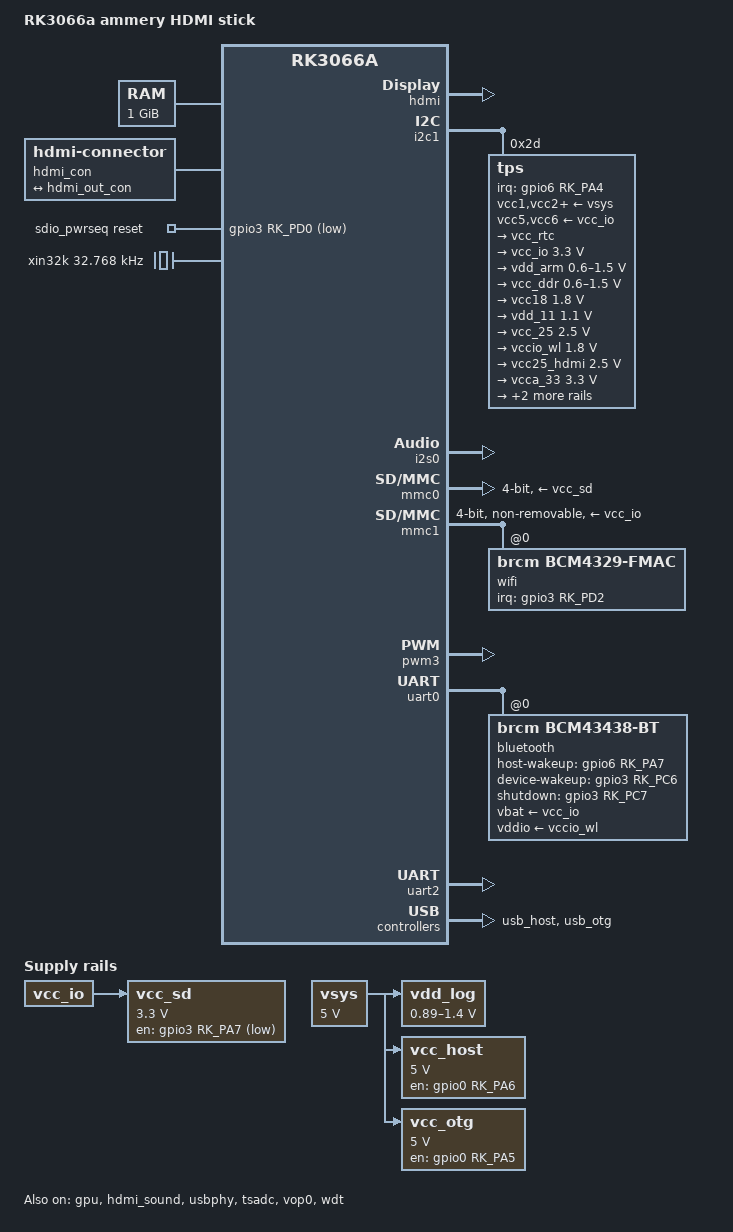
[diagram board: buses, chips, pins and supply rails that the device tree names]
// SPDX-License-Identifier: (GPL-2.0+ OR MIT)
/*
 * Copyright (c) 2020 Alex Bee <knaerzche@gmail.com>
 */

/dts-v1/;
#include "rk3066a.dtsi"

/ {
	model = "RK3066a ammery HDMI stick";
	compatible = "rockchip,rk3066a";

	memory@60000000 {
		device_type = "memory";
		reg = <0x60000000 0x40000000>;
	};

	/*
	 * We have to set this high voltage for all gpu-freqs
	 * in order to get 1,6 GHz CPU rate working at all times
	 */
	gpu_opp_table: opp-table2 {
		compatible = "operating-points-v2";

		opp-100000000 {
			opp-hz = /bits/ 64 <100000000>;
			opp-microvolt =  <1300000>;
		};

		opp-200000000 {
			opp-hz = /bits/ 64 <200000000>;
			opp-microvolt =  <1300000>;
		};
		opp-400000000 {
			opp-hz = /bits/ 64 <400000000>;
			opp-microvolt = <1300000>;
		};
	};

	hdmi_con {
		compatible = "hdmi-connector";
		type = "a";

		port {
			hdmi_con_in: endpoint {
				remote-endpoint = <&hdmi_out_con>;
			};
		};
	};

	sdio_pwrseq: sdio-pwrseq {
		compatible = "mmc-pwrseq-simple";
		clocks = <&xin32k>;
		clock-names = "ext_clock";
		pinctrl-names = "default";
		pinctrl-0 = <&wifi_reg_on>;
		reset-gpios = <&gpio3 RK_PD0 GPIO_ACTIVE_LOW>;
	};

	vdd_log: vdd-log {
		compatible = "pwm-regulator";
		pwms = <&pwm3 0 5000>;
		regulator-name = "vdd_log";
		regulator-min-microvolt = <890000>;
		regulator-max-microvolt = <1400000>;
		regulator-ramp-delay = <4000>;
		pwm-dutycycle-range = <100 0>;
		vin-supply = <&vsys>;
		regulator-always-on;
		regulator-boot-on;
	};

	vsys: vsys-regulator {
		compatible = "regulator-fixed";
		regulator-name = "vsys";
		regulator-min-microvolt = <5000000>;
		regulator-max-microvolt = <5000000>;
		regulator-always-on;
		regulator-boot-on;
	};

	vcc_sd: sdmmc-regulator {
		compatible = "regulator-fixed";
		gpio = <&gpio3 RK_PA7 GPIO_ACTIVE_LOW>;
		pinctrl-names = "default";
		pinctrl-0 = <&sdmmc_pwr>;
		regulator-name = "vcc_sd";
		regulator-min-microvolt = <3300000>;
		regulator-max-microvolt = <3300000>;
		startup-delay-us = <100000>;
		vin-supply = <&vcc_io>;
	};

	vcc_host: usb-host-regulator {
		compatible = "regulator-fixed";
		enable-active-high;
		gpio = <&gpio0 RK_PA6 GPIO_ACTIVE_HIGH>;
		pinctrl-names = "default";
		pinctrl-0 = <&host_drv>;
		regulator-name = "host-pwr";
		regulator-min-microvolt = <5000000>;
		regulator-max-microvolt = <5000000>;
		regulator-always-on;
		vin-supply = <&vsys>;
	};

	vcc_otg: usb-otg-regulator {
		compatible = "regulator-fixed";
		enable-active-high;
		gpio = <&gpio0 RK_PA5 GPIO_ACTIVE_HIGH>;
		pinctrl-names = "default";
		pinctrl-0 = <&otg_drv>;
		regulator-name = "vcc_otg";
		regulator-min-microvolt = <5000000>;
		regulator-max-microvolt = <5000000>;
		regulator-always-on;
		vin-supply = <&vsys>;
	};

	/* delivered from tps65910 pmic RTC,
	 * but there is no clock output in
	 * the driver
	 */
	xin32k: xin-32k {
		compatible = "fixed-clock";
		clock-frequency = <32768>;
		#clock-cells = <0>;
		clock-output-names = "xin32k";
	};
};

&cpu0_opp_table {
	opp-1608000000 {
		status = "okay";
	};
};

&cpu0 {
	cpu-supply = <&vdd_arm>;
};

&cpu1 {
	cpu-supply = <&vdd_arm>;
};

&cru {
	assigned-clocks = <&cru PLL_CPLL>, <&cru PLL_GPLL>,
			  <&cru ACLK_CPU>, <&cru HCLK_CPU>,
			  <&cru PCLK_CPU>, <&cru ACLK_PERI>,
			  <&cru HCLK_PERI>, <&cru PCLK_PERI>,
			  <&cru ACLK_LCDC0>, <&cru ACLK_LCDC1>;
	assigned-clock-rates = <594000000>, <1200000000>,
			       <300000000>, <150000000>,
			       <75000000>, <300000000>,
			       <150000000>, <75000000>,
			       <297000000>, <297000000>;
};

&gpu {
	operating-points-v2 = <&gpu_opp_table>;
	mali-supply = <&vdd_log>;
	status = "okay";
};

&hdmi {
	status = "okay";
};

&hdmi_in_vop1 {
	status = "disabled";
};

&hdmi_out {
	hdmi_out_con: endpoint {
		remote-endpoint = <&hdmi_con_in>;
	};
};

&hdmi_sound {
	status = "okay";
};

&i2c1 {
	status = "okay";

	tps: tps@2d {
		reg = <0x2d>;
		interrupt-parent = <&gpio6>;
		interrupts = <RK_PA4 IRQ_TYPE_EDGE_RISING>;
		pinctrl-names = "default";
		pinctrl-0 = <&pmic_int &pwr_hold>;

		vcc1-supply = <&vsys>;
		vcc2-supply = <&vsys>;
		vcc3-supply = <&vsys>;
		vcc4-supply = <&vsys>;
		vcc5-supply = <&vcc_io>;
		vcc6-supply = <&vcc_io>;
		vcc7-supply = <&vsys>;
		vccio-supply = <&vsys>;

		regulators {
			vcc_rtc: regulator@0 {
				regulator-name = "vcc_rtc";
				regulator-always-on;
			};

			vcc_io: regulator@1 {
				regulator-name = "vcc_io";
				regulator-min-microvolt = <3300000>;
				regulator-max-microvolt = <3300000>;
				regulator-always-on;
				regulator-boot-on;
			};

			vdd_arm: regulator@2 {
				regulator-name = "vdd_arm";
				regulator-min-microvolt = <600000>;
				regulator-max-microvolt = <1500000>;
				regulator-always-on;
				regulator-boot-on;
			};

			vcc_ddr: regulator@3 {
				regulator-name = "vcc_ddr";
				regulator-min-microvolt = <600000>;
				regulator-max-microvolt = <1500000>;
				regulator-always-on;
				regulator-boot-on;
			};

			vcc18: regulator@5 {
				regulator-name = "vcc18";
				regulator-min-microvolt = <1800000>;
				regulator-max-microvolt = <1800000>;
				regulator-always-on;
			};

			vdd_11: regulator@6 {
				regulator-name = "vdd_11";
				regulator-min-microvolt = <1100000>;
				regulator-max-microvolt = <1100000>;
				regulator-always-on;
			};

			vcc_25: regulator@7 {
				regulator-name = "vcc_25";
				regulator-min-microvolt = <2500000>;
				regulator-max-microvolt = <2500000>;
				regulator-always-on;
			};

			vccio_wl: regulator@8 {
				regulator-name = "vccio_wl";
				regulator-min-microvolt = <1800000>;
				regulator-max-microvolt = <1800000>;
				regulator-boot-on;
			};

			vcc25_hdmi: regulator@9 {
				regulator-name = "vcc25_hdmi";
				regulator-min-microvolt = <2500000>;
				regulator-max-microvolt = <2500000>;
				regulator-always-on;
			};

			vcca_33: regulator@10 {
				regulator-name = "vcca_33";
				regulator-min-microvolt = <3300000>;
				regulator-max-microvolt = <3300000>;
				regulator-boot-on;
				regulator-always-on;
			};

			vcc_rmii: regulator@11 {
				regulator-name = "vcc_rmii";
				regulator-min-microvolt = <3300000>;
				regulator-max-microvolt = <3300000>;
			};

			vcc28_cif: regulator@12 {
				regulator-name = "vcc28_cif";
				regulator-min-microvolt = <2800000>;
				regulator-max-microvolt = <2800000>;
			};
		};
	};
};

#include "tps65910.dtsi"

&i2s0 {
	status = "okay";
};

&mmc0 {
	bus-width = <4>;
	disable-wp;
	pinctrl-names = "default";
	pinctrl-0 = <&sd0_clk>, <&sd0_cmd>, <&sd0_cd>, <&sd0_bus4>;
	vmmc-supply = <&vcc_sd>;
	cap-mmc-highspeed;
	cap-sd-highspeed;
	status = "okay";
};

&mmc1 {
	bus-width = <4>;
	clock-frequency = <50000000>;
	mmc-pwrseq = <&sdio_pwrseq>;
	non-removable;
	pinctrl-names = "default";
	pinctrl-0 = <&sd1_clk>, <&sd1_cmd>, <&sd1_bus4>;
	vmmc-supply = <&vcc_io>;
	vqmmc-supply = <&vccio_wl>;
	cap-mmc-highspeed;
	cap-sd-highspeed;
	status = "okay";
	#address-cells = <1>;
	#size-cells = <0>;

	/*
	 * RK903 is compatible with Ampak AP6330
	 * except: 2.4 GHz channels only
	 */
	wifi@0 {
		reg = <0>;
		compatible = "brcm,bcm4329-fmac";
		interrupt-parent = <&gpio3>;
		interrupts = <RK_PD2 IRQ_TYPE_EDGE_RISING>;
		interrupt-names = "host-wake";
		pinctrl-names = "default";
		pinctrl-0 = <&wifi_host_wake>;
	};
};

&pinctrl {
	pcfg_output_high: pcfg-output-high {
		output-high;
	};

	usb {
		host_drv: host-drv {
			rockchip,pins = <0 RK_PA6 RK_FUNC_GPIO &pcfg_pull_default>;
		};

		otg_drv: otg-drv {
			rockchip,pins = <0 RK_PA5 RK_FUNC_GPIO &pcfg_pull_default>;
		};

	};

	rk903 {
		bt_host_wake: bt-host-wake {
			rockchip,pins = <6 RK_PA7 RK_FUNC_GPIO &pcfg_pull_default>;
		};

		bt_reg_on: bt-reg-on {
			rockchip,pins = <3 RK_PC7 RK_FUNC_GPIO &pcfg_pull_none>;
		};

		bt_rst: bt-rst {
			rockchip,pins = <3 RK_PD1 RK_FUNC_GPIO &pcfg_output_high>;
		};

		bt_wake: bt-wake {
			rockchip,pins = <3 RK_PC6 RK_FUNC_GPIO &pcfg_pull_none>;
		};

		wifi_host_wake: wifi-host-wake {
			rockchip,pins = <3 RK_PD2 RK_FUNC_GPIO &pcfg_pull_default>;
		};

		wifi_reg_on: wifi-reg-on {
			rockchip,pins = <3 RK_PD0 RK_FUNC_GPIO &pcfg_pull_none>;
		};
	};

	sdmmc {
		sdmmc_pwr: sdmmc-pwr {
			rockchip,pins = <3 RK_PA7 RK_FUNC_GPIO &pcfg_pull_default>;
		};
	};

	tps {
		pmic_int: pmic-int {
			rockchip,pins = <6 RK_PA4 RK_FUNC_GPIO &pcfg_pull_default>;
		};

		pwr_hold: pwr-hold {
			rockchip,pins = <6 RK_PB0 RK_FUNC_GPIO &pcfg_output_high>;
		};
	};
};

&pwm3 {
	status = "okay";
};

&uart0 {
	pinctrl-names = "default";
	pinctrl-0 = <&uart0_xfer>, <&uart0_cts>,
		    <&uart0_rts>;
	uart-has-rtscts;
	status = "okay";
	#address-cells = <1>;
	#size-cells = <0>;

	/*
	 * BCM4330B2 patch is needed, .i.e. a
	 * BCM4330B1 with 26 MHz XTAL config
	 */
	bluetooth@0 {
		reg = <0>;
		compatible = "brcm,bcm43438-bt";
		clocks = <&xin32k>;
		clock-names = "lpo";
		host-wakeup-gpios = <&gpio6 RK_PA7 GPIO_ACTIVE_HIGH>;
		device-wakeup-gpios = <&gpio3 RK_PC6 GPIO_ACTIVE_HIGH>;
		shutdown-gpios = <&gpio3 RK_PC7 GPIO_ACTIVE_HIGH>;
		pinctrl-names = "default";
		pinctrl-0 = <&bt_host_wake>, <&bt_reg_on>,
			    <&bt_rst>, <&bt_wake>;
		vbat-supply = <&vcc_io>;
		vddio-supply = <&vccio_wl>;
	};
};

&uart2 {
	status = "okay";
};

&usb_host {
	status = "okay";
};

&usbphy {
	status = "okay";
};

&usb_otg {
	status = "okay";
};

&tsadc {
	vref-supply = <&vcc_25>;
	status = "okay";
};

&vop0 {
	status = "okay";
};

&wdt {
	status = "okay";
};
